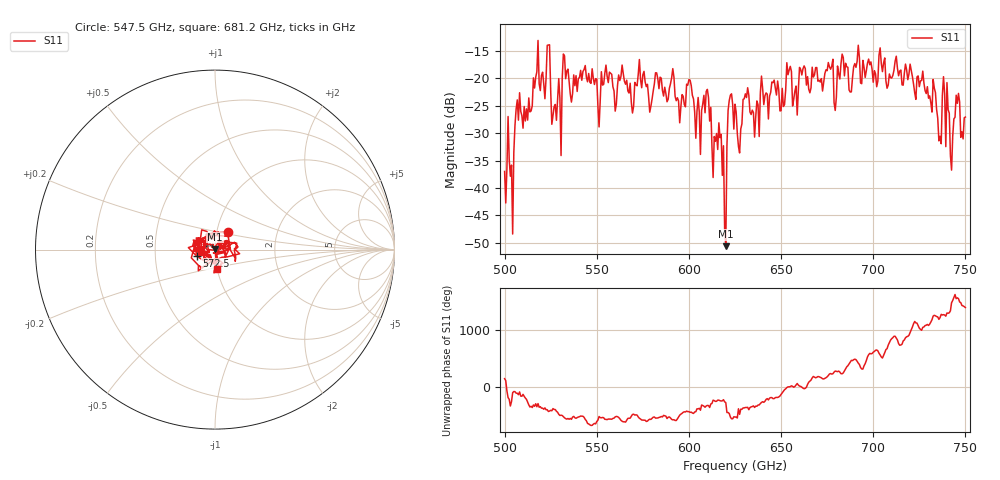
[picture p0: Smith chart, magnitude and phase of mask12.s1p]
!Created with skrf (http://scikit-rf.org).
# GHz S MA R 50.0
!freq magS11 angS11
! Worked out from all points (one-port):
!   401 points, 500 GHz to 750 GHz, reference 50 ohm
!   lowest |S11| = -50.7 dB at 620 GHz (marker M1), VSWR 1.01, Z = 50 + j0.293 ohm
!   |S11| at or under -10 dB: start of sweep to end of sweep
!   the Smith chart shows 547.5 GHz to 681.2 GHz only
!   S11 on the Smith chart (normalised r, x): 547.5 GHz: 1.14, +0.22; 572.5 GHz: 0.81, -0.06; 681.2 GHz: 1.00, -0.22
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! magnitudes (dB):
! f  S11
! 500 GHz  -37.0
! 503.8 GHz  -35.8
! 506.9 GHz  -23.9
! 513.8 GHz  -26.1
! 516.9 GHz  -19.8
! 523.8 GHz  -13.9
! 526.9 GHz  -25.1
! 531.2 GHz  -20.1
! 547.5 GHz  -18.2
! 562.5 GHz  -20.4
! 572.5 GHz  -19.3
! 593.8 GHz  -23.5
! 600 GHz  -20.2
! 605 GHz  -23.5
! 609.4 GHz  -22.4
! 620 GHz  -50.7
! 622.5 GHz  -23.1
! 625 GHz  -24.7
! 656.2 GHz  -25.0
! 681.2 GHz  -19.2
! 687.5 GHz  -22.5
! 718.8 GHz  -20.2
! 733.8 GHz  -22.6
! 735.6 GHz  -31.4
! 738.8 GHz  -22.8
! 742.5 GHz  -36.8
! 745.6 GHz  -24.5
! 750 GHz  -27.1
